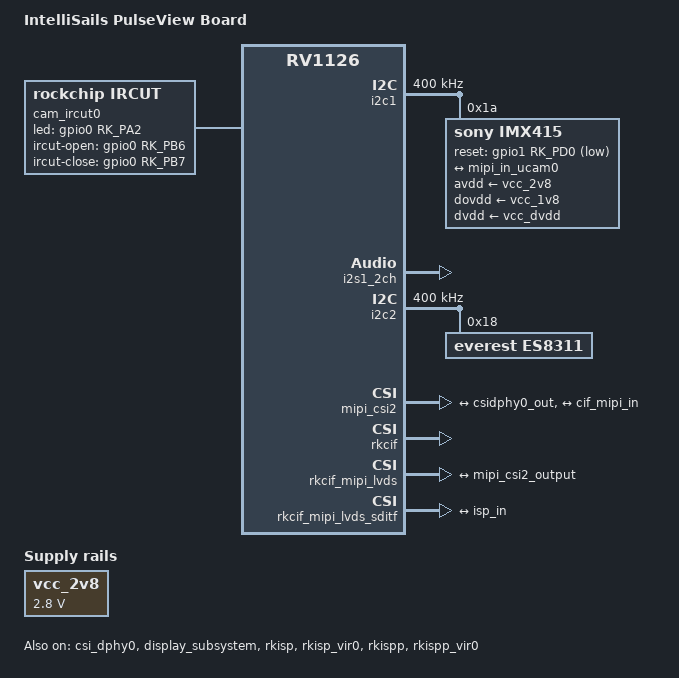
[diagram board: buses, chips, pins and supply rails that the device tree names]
// SPDX-License-Identifier: (GPL-2.0+ OR MIT)
/*
 * Copyright (c) 2019 Fuzhou Rockchip Electronics Co., Ltd.
 */

/dts-v1/;
#include "rv1126.dtsi"
#include "rv1126-pulseview.dtsi"

/ {
	model = "IntelliSails PulseView Board";
	compatible = "rockchip,rv1126-pulseview-v1", "rockchip,rv1126";

	chosen {
		bootargs = "earlycon=uart8250,mmio32,0xff570000 console=ttyFIQ0 root=PARTUUID=614e0000-0000 rootwait snd_aloop.index=7";
	};

	vcc_2v8: vcc-2v8 {
		compatible = "regulator-fixed";
		regulator-name = "vcc_2v8";
		regulator-always-on;
		regulator-boot-on;
		regulator-min-microvolt = <2800000>;
		regulator-max-microvolt = <2800000>;
	};

	cam_ircut0: cam_ircut {
		status = "okay";
		compatible = "rockchip,ircut";
		led-gpios  = <&gpio0 RK_PA2 GPIO_ACTIVE_HIGH>;
		ircut-open-gpios = <&gpio0 RK_PB6 GPIO_ACTIVE_HIGH>;
		ircut-close-gpios  = <&gpio0 RK_PB7 GPIO_ACTIVE_HIGH>;
		rockchip,camera-module-index = <1>;
		rockchip,camera-module-facing = "front";
	};

	i2s1_sound: i2s1-sound {
		status = "okay";
		compatible = "simple-audio-card";
		simple-audio-card,format = "i2s";
		simple-audio-card,mclk-fs = <256>;
		simple-audio-card,name = "rockchip,i2s1-sound";
		// simple-audio-card,widgets =
		// 	"Microphone", "Mic Jack",
		// 	"Speaker", "Speaker Jack";
		// simple-audio-card,routing =
		// 	"Speaker Jack", "HPOL",
		// 	"Speaker Jack", "HPOR";
		simple-audio-card,cpu {
			sound-dai = <&i2s1_2ch>;
		};
		simple-audio-card,codec {
			sound-dai = <&es8311>;
		};
	};
};

&csi_dphy0 {
	status = "okay";

	ports {
		#address-cells = <1>;
		#size-cells = <0>;
		port@0 {
			reg = <0>;
			#address-cells = <1>;
			#size-cells = <0>;

			mipi_in_ucam0: endpoint@1 {
				reg = <1>;
				remote-endpoint = <&ucam_out0>;
				data-lanes = <1 2 3 4>;
			};
		};
		port@1 {
			reg = <1>;
			#address-cells = <1>;
			#size-cells = <0>;

			csidphy0_out: endpoint@0 {
				reg = <0>;
				remote-endpoint = <&mipi_csi2_input>;
			};
		};
	};
};

&i2c1 {
	status = "okay";
	clock-frequency = <400000>;

	imx415: imx415@1a {
		compatible = "sony,imx415";
		reg = <0x1a>;
		clocks = <&cru CLK_MIPICSI_OUT>;
		clock-names = "xvclk";
		power-domains = <&power RV1126_PD_VI>;
		pinctrl-names = "rockchip,camera_default";
		pinctrl-0 = <&mipicsi_clk0>;
		avdd-supply = <&vcc_2v8>;
		dovdd-supply = <&vcc_1v8>;
		dvdd-supply = <&vcc_dvdd>;
		reset-gpios = <&gpio1 RK_PD0 GPIO_ACTIVE_LOW>;
		// power-gpios = <&gpio1 RK_PD4 GPIO_ACTIVE_HIGH>;
		rockchip,camera-module-index = <1>;
		rockchip,camera-module-facing = "front";
		rockchip,camera-module-name = "PV1";
		rockchip,camera-module-lens-name = "8M";
		// imx415_PV1_8M.xml
		// imx415_PV1_8M-hdr3.xml
		// NO_HDR:0 HDR_X2:5 HDR_X3:6
		rockchip,camera-hdr-mode = <6>;
		ir-cut = <&cam_ircut0>;
		port {
			ucam_out0: endpoint {
				remote-endpoint = <&mipi_in_ucam0>;
				data-lanes = <1 2 3 4>;
			};
		};
	};
};

&i2s1_2ch {
	status = "okay";
	// rockchip,clk-trcm = <1>;
	#sound-dai-cells = <0>;
	pinctrl-names = "default";
	pinctrl-0 = <&i2s1m2_sclk
		     &i2s1m2_lrck
		     &i2s1m2_sdi
		     &i2s1m2_sdo>;
};

&i2c2 {
	status = "okay";
	clock-frequency = <400000>;
	pinctrl-0 = <&i2c2_xfer>;

	es8311: es8311@18 {
		compatible = "everest,es8311";
		reg = <0x18>;
		clocks = <&cru MCLK_I2S1_OUT2IO>;
		clock-names = "mclk";
		adc-volume = <0xbf>;  /* 0dB */
		dac-volume = <0xbf>;  /* 0dB */
		aec-mode = "dac left, adc right";
		pinctrl-names = "default";
		pinctrl-0 = <&i2s1m2_mclk>; // &spk_ctl
		assigned-clocks = <&cru MCLK_I2S1_OUT2IO>;
		assigned-clock-parents = <&cru MCLK_I2S1>;
		// assigned-clock-rates = <12288000>;
		// spk-ctl-gpios = <&gpio2 RK_PA5 GPIO_ACTIVE_HIGH>;
		#sound-dai-cells = <0>;
	};
};

&display_subsystem {
	status = "okay";
};

&isp_reserved {
	size = <0x0AC00000>; // x0AC00000
};

&mipi_csi2 {
	status = "okay";

	ports {
		#address-cells = <1>;
		#size-cells = <0>;

		port@0 {
			reg = <0>;
			#address-cells = <1>;
			#size-cells = <0>;

			mipi_csi2_input: endpoint@1 {
				reg = <1>;
				remote-endpoint = <&csidphy0_out>;
				data-lanes = <1 2 3 4>;
			};
		};

		port@1 {
			reg = <1>;
			#address-cells = <1>;
			#size-cells = <0>;

			mipi_csi2_output: endpoint@0 {
				reg = <0>;
				remote-endpoint = <&cif_mipi_in>;
				data-lanes = <1 2 3 4>;
			};
		};
	};
};

&rkcif {
	status = "okay";
};

&rkcif_mmu {
	status = "disabled";
};

&rkcif_mipi_lvds {
	status = "okay";

	port {
		cif_mipi_in: endpoint {
			remote-endpoint = <&mipi_csi2_output>;
			data-lanes = <1 2 3 4>;
		};
	};
};

&rkcif_mipi_lvds_sditf {
	status = "okay";

	port {
		mipi_lvds_sditf: endpoint {
			remote-endpoint = <&isp_in>;
			data-lanes = <1 2 3 4>;
		};
	};
};

&rkisp {
	status = "okay";
};

&rkisp_vir0 {
	status = "okay";

	ports {
		port@0 {
			reg = <0>;
			#address-cells = <1>;
			#size-cells = <0>;

			isp_in: endpoint@0 {
				reg = <0>;
				remote-endpoint = <&mipi_lvds_sditf>;
			};
		};
	};
};

&rkispp {
	status = "okay";
};

&rkispp_vir0 {
	status = "okay";
};

&rkispp_mmu {
	status = "okay";
};

&pinctrl {
	es8311 {
		// spk_ctl: spk-ctl {
		// 	rockchip,pins = <2 RK_PA5 0 &pcfg_pull_none>;
		// };
	};
};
